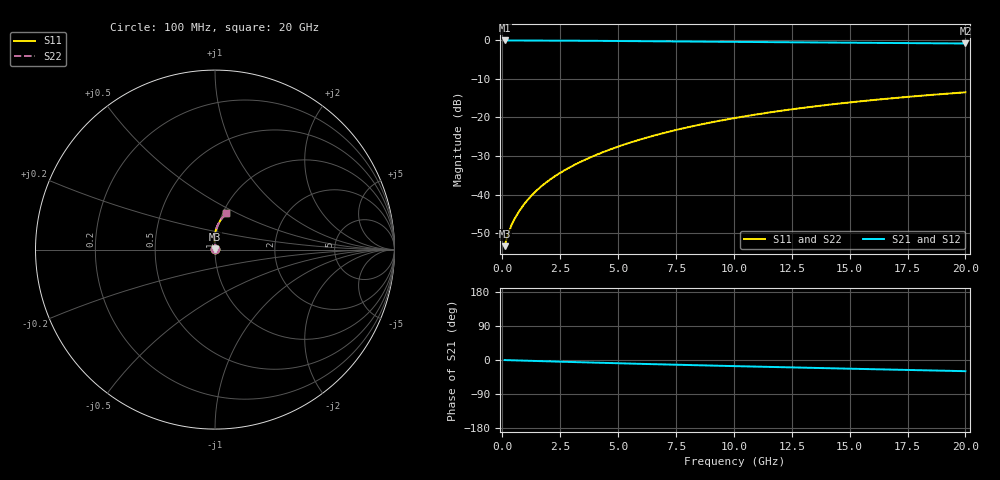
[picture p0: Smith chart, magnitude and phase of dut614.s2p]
! Touchstone file exported from HFSS 2024.1.0
!  File:  C:/UserFiles/LocalFiles/RDL_TSV_Batchsim/temp_RDL_bottom_614_1779783750.aedt
!  Generated:  04:25:03 PM May 26, 2026
!  Design:  RDL_bottom
!  Project:  temp_RDL_bottom_614_1779783750
!  Setup:  Setup1
!  Solution:  Sweep
! Variables:
!  dtsv = 10.80580581um
!  hbump = 3um
!  htsv = 72.24um
!  ldown = 468.16um
!  lrdl = 100um
!  p = 40
!  p1 = 42.84um
!  rhole = 1um
!  t = 450um
!  tdown = 3.7um
!  trdl = 3.915915916um
!  wdown = 27.17um
!  wrdl = 20um
# GHz S MA R 50.000000
! Terminal data exported
! Port[1] = RDL1_T1
! Port[2] = RDL1_T2
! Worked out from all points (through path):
!   200 points, 100 MHz to 20 GHz, reference 50 ohm
!   highest |S21| = -0.02 dB at 100 MHz (marker M1); lowest = -0.8 dB at 20 GHz (marker M2)
!   group delay of S21, straight-line fit = 4.03 ps
!   lowest |S11| = -53.4 dB at 100 MHz (marker M3), VSWR 1.00, Z = 50.2 + j0.0966 ohm
!   |S11| at or under -10 dB: start of sweep to end of sweep
!   |S22| runs from -53.4 to -13.5 dB; largest |S21 - S12| = 3.4e-15
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0.1  0.002136 26.8  0.9981 -0.2  0.9981 -0.2  0.002136 26.8
! Gamma 0 0 0 0
! Port Impedance 50 0 50 0
0.2  0.002747 41.4  0.9979 -0.4  0.9979 -0.4  0.002747 41.4
0.3  0.003385 49.5  0.9977 -0.6  0.9977 -0.6  0.003385 49.5
0.4  0.004005 55.2  0.9975 -0.7  0.9975 -0.7  0.004005 55.2
0.5  0.004621 59.7  0.9974 -0.9  0.9974 -0.9  0.004621 59.7
0.8  0.00653 69.1  0.997 -1.5  0.997 -1.5  0.006531 69.1
1  0.007869 73.3  0.9967 -1.8  0.9967 -1.8  0.007869 73.3
1.2  0.009252 76.6  0.9963 -2.2  0.9963 -2.2  0.009252 76.6
1.7  0.01287 82.1  0.9953 -3.1  0.9953 -3.1  0.01287 82.1
2.2  0.0167 85.6  0.9939 -3.9  0.9939 -3.9  0.0167 85.6
2.8  0.02155 88.5  0.992 -5.0  0.992 -5.0  0.02155 88.5
3.5  0.02759 90.6  0.9892 -6.2  0.9892 -6.2  0.02758 90.6
4.2  0.03402 92.0  0.9861 -7.3  0.9861 -7.3  0.03401 91.9
5  0.04183 92.8  0.9823 -8.6  0.9823 -8.6  0.04181 92.7
5.9  0.05113 92.9  0.9777 -10.1  0.9777 -10.1  0.05111 92.9
6.8  0.0609 92.6  0.973 -11.4  0.973 -11.4  0.06087 92.5
8.4  0.07907 91.1  0.9646 -13.8  0.9646 -13.8  0.07902 91.0
10.1  0.09903 88.8  0.9559 -16.3  0.9559 -16.3  0.09896 88.7
11.7  0.118 86.3  0.9481 -18.5  0.9481 -18.5  0.1179 86.2
13.4  0.1381 83.5  0.9402 -20.8  0.9402 -20.8  0.138 83.4
16.7  0.176 77.9  0.9257 -25.2  0.9257 -25.2  0.1758 77.9
20  0.2119 72.6  0.9118 -29.5  0.9118 -29.5  0.2117 72.5
